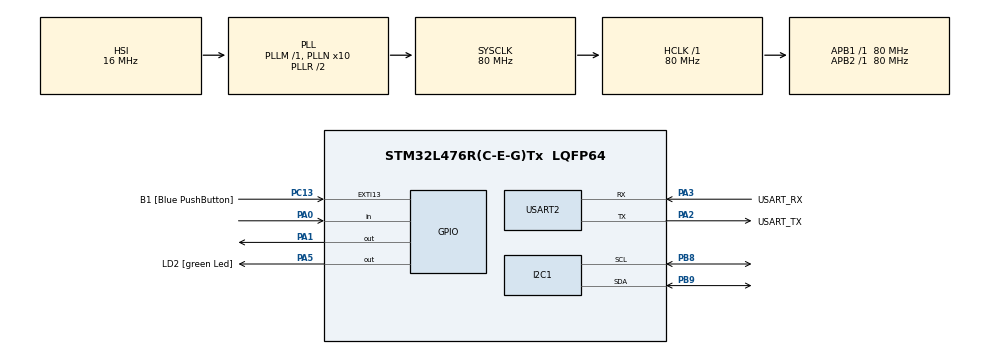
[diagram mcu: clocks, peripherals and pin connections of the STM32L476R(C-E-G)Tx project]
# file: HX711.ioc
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I2C1.Timing=0x10909CEC
Mcu.Family=STM32L4
Mcu.Name=STM32L476R(C-E-G)Tx
Mcu.Package=LQFP64
NVIC.PriorityGroup=NVIC_PRIORITYGROUP_4
PA0.GPIO_PuPd=GPIO_NOPULL
PA0.Signal=GPIO_Input
PA1.GPIO_Speed=GPIO_SPEED_FREQ_LOW
PA1.Signal=GPIO_Output
PA13\ (JTMS-SWDIO).GPIO_Label=TMS
PA13\ (JTMS-SWDIO).Mode=Serial_Wire
PA13\ (JTMS-SWDIO).Signal=SYS_JTMS-SWDIO
PA14\ (JTCK-SWCLK).GPIO_Label=TCK
PA14\ (JTCK-SWCLK).Mode=Serial_Wire
PA14\ (JTCK-SWCLK).Signal=SYS_JTCK-SWCLK
PA2.GPIO_Label=USART_TX
PA2.GPIO_Mode=GPIO_MODE_AF_PP
PA2.GPIO_PuPd=GPIO_NOPULL
PA2.GPIO_Speed=GPIO_SPEED_FREQ_VERY_HIGH
PA2.Mode=Asynchronous
PA2.Signal=USART2_TX
PA3.GPIO_Label=USART_RX
PA3.GPIO_Mode=GPIO_MODE_AF_PP
PA3.GPIO_PuPd=GPIO_NOPULL
PA3.GPIO_Speed=GPIO_SPEED_FREQ_VERY_HIGH
PA3.Mode=Asynchronous
PA3.Signal=USART2_RX
PA5.GPIO_Label=LD2 [green Led]
PA5.GPIO_ModeDefaultOutputPP=GPIO_MODE_OUTPUT_PP
PA5.GPIO_PuPd=GPIO_NOPULL
PA5.GPIO_Speed=GPIO_SPEED_FREQ_LOW
PA5.Signal=GPIO_Output
PB3\ (JTDO-TRACESWO).GPIO_Label=SWO
PB3\ (JTDO-TRACESWO).Signal=SYS_JTDO-SWO
PB8.Mode=I2C
PB8.Signal=I2C1_SCL
PB9.Mode=I2C
PB9.Signal=I2C1_SDA
PC13.GPIO_Label=B1 [Blue PushButton]
PC13.GPIO_ModeDefaultEXTI=GPIO_MODE_IT_FALLING
PC13.GPIO_PuPd=GPIO_NOPULL
PC13.Signal=GPXTI13
PC14-OSC32_IN\ (PC14).Mode=LSE-External-Oscillator
PC14-OSC32_IN\ (PC14).Signal=RCC_OSC32_IN
PC15-OSC32_OUT\ (PC15).Mode=LSE-External-Oscillator
PC15-OSC32_OUT\ (PC15).Signal=RCC_OSC32_OUT
PH0-OSC_IN\ (PH0).Signal=RCC_OSC_IN
PH1-OSC_OUT\ (PH1).Signal=RCC_OSC_OUT
ProjectManager.HeapSize=0x200
ProjectManager.StackSize=0x400
ProjectManager.TargetToolchain=STM32CubeIDE
RCC.ADCFreq_Value=64000000
RCC.AHBFreq_Value=80000000
RCC.APB1Freq_Value=80000000
RCC.APB1TimFreq_Value=80000000
RCC.APB2Freq_Value=80000000
RCC.APB2TimFreq_Value=80000000
RCC.CortexFreq_Value=80000000
RCC.HCLKFreq_Value=80000000
RCC.HSE_VALUE=8000000
RCC.HSI_VALUE=16000000
RCC.MSI_VALUE=4000000
RCC.PLLN=10
RCC.PLLSourceVirtual=RCC_PLLSOURCE_HSI
RCC.PREFETCH_ENABLE=1
RCC.SYSCLKFreq_VALUE=80000000
RCC.SYSCLKSource=RCC_SYSCLKSOURCE_PLLCLK
RCC.USBFreq_Value=64000000
RCC.VCOOutputFreq_Value=160000000
TIM6.Prescaler=79
USART2.VirtualMode-Asynchronous=VM_ASYNC
VP_TIM6_VS_ClockSourceINT.Mode=Enable_Timer
board=NUCLEO-L476RG

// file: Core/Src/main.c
/* USER CODE BEGIN Header */

/**
 ******************************************************************************
 * @file : main.c
 * @brief : Main program body

 ******************************************************************************
 * @attention
 *
 * Copyright (c) 2026 STMicroelectronics.
 * All rights reserved.
 *
 * This software is licensed under terms that can be found in the LICENSE file
 * in the root directory of this software component.
 * If no LICENSE file comes with this software, it is provided AS-IS.
 *****************************************************************************
 */

/* USER CODE END Header */
#include "main.h"
#include "i2c.h"
#include "tim.h"
#include "usart.h"
#include "gpio.h"

/* USER CODE BEGIN PD */

#include "lora.h"
#include "lcd.h"
#include "hx711.h"
#include <stdio.h>

/* USER CODE END PD */

/* USER CODE BEGIN PV */

rgb_lcd lcd;

/* USER CODE END PV */

void SystemClock_Config(void);

int main(void)
{

  /* MCU Configuration--------------------------------------------------------*/

  /* Reset of all peripherals, Initializes the Flash interface and the Systick. */
  HAL_Init();

  /* Configure the system clock */
  SystemClock_Config();

  /* Initialize all configured peripherals */
  MX_GPIO_Init();
  MX_USART2_UART_Init();
  MX_TIM6_Init();
  MX_I2C1_Init();
  /* USER CODE BEGIN 2 */

HAL_TIM_Base_Start(&htim6);
lcd_init(&hi2c1, &lcd); // init LCD

char lcd_buffer[16];

HX711_HandleTypeDef hx;

hx.dt_port = GPIOA;
hx.dt_pin = GPIO_PIN_0;
hx.sck_port = GPIOA;
hx.sck_pin = GPIO_PIN_1;

lcd_init(&hi2c1, &lcd); // init LCD
lcd_position(&hi2c1, 0, 0);
lcd_print(&hi2c1, "START");
reglagecouleur(255,255,255);
HX711_Init(&hx);
Lora_Init();
HAL_Delay(2000);

float poids = 0;
long value = 0;
float received = 0;

hx.offset = 498700 + 500; // vaut zero avant calibration
hx.scale = 224630.0f; // vaut 1 avant calibration
Lora_SendCommand("AT+TEST=RXLRPKT\r\n");

  /* USER CODE END 2 */

  /* Infinite loop */
while (1)
{
    /* USER CODE BEGIN 3 */

	while (HAL_GPIO_ReadPin(hx.dt_port, hx.dt_pin));

	for(int i = 0; i < 24; i++)
		{
		delay_us(1);
	    HAL_GPIO_WritePin(hx.sck_port, hx.sck_pin, GPIO_PIN_SET);
	    value = value << 1;
	    //HAL_Delay(500);
	    delay_us(1);

	    HAL_GPIO_WritePin(hx.sck_port, hx.sck_pin, GPIO_PIN_RESET);
	    //HAL_Delay(500);
	    //delay_us(10);
	    if(HAL_GPIO_ReadPin(hx.dt_port, hx.dt_pin))

	    value++;

		 }
			delay_us(1);
		    HAL_GPIO_WritePin(hx.sck_port, hx.sck_pin, GPIO_PIN_SET);
		    delay_us(1);

		    HAL_GPIO_WritePin(hx.sck_port, hx.sck_pin, GPIO_PIN_RESET);

		    poids = (value - hx.offset) / hx.scale;

		    sprintf(lcd_buffer, "%.3f Kg", poids);
		    clearlcd();

		    lcd_position(&hi2c1, 0, 0);
		    lcd_print(&hi2c1, "Poids:");

		    lcd_position(&hi2c1, 0, 1);
		    lcd_print(&hi2c1, lcd_buffer);

		    Lora_SendFloat(poids);
		    HAL_Delay(2000);	// envoie chaque 2 seconds

		    /*	code à mettre dans le microcontroleur responsable à la reception lora
		      	received = Lora_ReceiveFloat();

		    	sprintf(lcd_buffer, "%.3f Kg", received);
    		    clearlcd();
    			lcd_position(&hi2c1, 0, 0);
    			lcd_print(&hi2c1, "Poids:");

    			lcd_position(&hi2c1, 0, 1);
    			lcd_print(&hi2c1, lcd_buffer);
		     */
}

  /* USER CODE END 3 */
}

void SystemClock_Config(void)
{
  RCC_OscInitTypeDef RCC_OscInitStruct = {0};
  RCC_ClkInitTypeDef RCC_ClkInitStruct = {0};

  /** Configure the main internal regulator output voltage
  */
  if (HAL_PWREx_ControlVoltageScaling(PWR_REGULATOR_VOLTAGE_SCALE1) != HAL_OK)
  {
    Error_Handler();
  }

  /** Initializes the RCC Oscillators according to the specified parameters
  * in the RCC_OscInitTypeDef structure.
  */
  RCC_OscInitStruct.OscillatorType = RCC_OSCILLATORTYPE_HSI;
  RCC_OscInitStruct.HSIState = RCC_HSI_ON;
  RCC_OscInitStruct.HSICalibrationValue = RCC_HSICALIBRATION_DEFAULT;
  RCC_OscInitStruct.PLL.PLLState = RCC_PLL_ON;
  RCC_OscInitStruct.PLL.PLLSource = RCC_PLLSOURCE_HSI;
  RCC_OscInitStruct.PLL.PLLM = 1;
  RCC_OscInitStruct.PLL.PLLN = 10;
  RCC_OscInitStruct.PLL.PLLP = RCC_PLLP_DIV7;
  RCC_OscInitStruct.PLL.PLLQ = RCC_PLLQ_DIV2;
  RCC_OscInitStruct.PLL.PLLR = RCC_PLLR_DIV2;
  if (HAL_RCC_OscConfig(&RCC_OscInitStruct) != HAL_OK)
  {
    Error_Handler();
  }

  /** Initializes the CPU, AHB and APB buses clocks
  */
  RCC_ClkInitStruct.ClockType = RCC_CLOCKTYPE_HCLK|RCC_CLOCKTYPE_SYSCLK
                              |RCC_CLOCKTYPE_PCLK1|RCC_CLOCKTYPE_PCLK2;
  RCC_ClkInitStruct.SYSCLKSource = RCC_SYSCLKSOURCE_PLLCLK;
  RCC_ClkInitStruct.AHBCLKDivider = RCC_SYSCLK_DIV1;
  RCC_ClkInitStruct.APB1CLKDivider = RCC_HCLK_DIV1;
  RCC_ClkInitStruct.APB2CLKDivider = RCC_HCLK_DIV1;

  if (HAL_RCC_ClockConfig(&RCC_ClkInitStruct, FLASH_LATENCY_4) != HAL_OK)
  {
    Error_Handler();
  }
}

void Error_Handler(void)
{
  __disable_irq();
  while (1)
  {
  }
}
